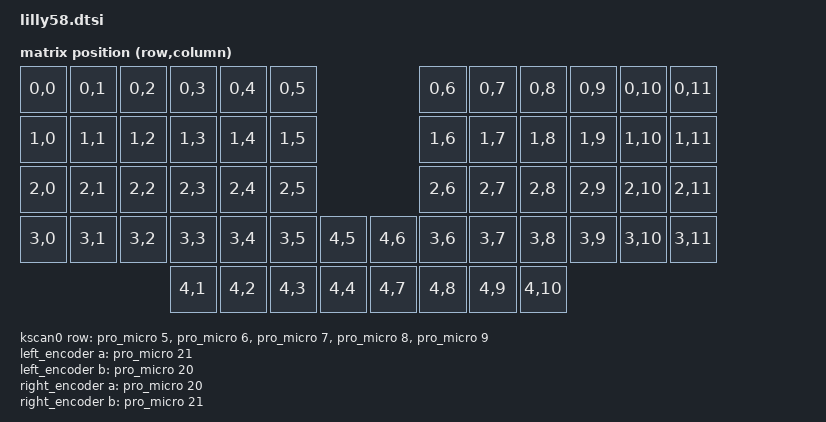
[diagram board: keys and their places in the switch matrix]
#include <dt-bindings/zmk/matrix_transform.h>
#include "lilly58-layouts.dtsi"
#include <dt-bindings/led/led.h>

/ {
    chosen {
        zmk,kscan = &kscan0;
        zmk,physical-layout = &layout_0;
        zephyr,display = &nice_view;
        zmk,underglow = &led_strip;
    };

    matrix_transform0: matrix_transform0 {
        compatible = "zmk,matrix-transform";
        columns = <16>;
        rows = <5>;
        map = <
RC(0,0) RC(0,1) RC(0,2) RC(0,3) RC(0,4) RC(0,5)                 RC(0,6) RC(0,7) RC(0,8) RC(0,9) RC(0,10) RC(0,11)
RC(1,0) RC(1,1) RC(1,2) RC(1,3) RC(1,4) RC(1,5)                 RC(1,6) RC(1,7) RC(1,8) RC(1,9) RC(1,10) RC(1,11)
RC(2,0) RC(2,1) RC(2,2) RC(2,3) RC(2,4) RC(2,5)                 RC(2,6) RC(2,7) RC(2,8) RC(2,9) RC(2,10) RC(2,11)
RC(3,0) RC(3,1) RC(3,2) RC(3,3) RC(3,4) RC(3,5) RC(4,5) RC(4,6) RC(3,6) RC(3,7) RC(3,8) RC(3,9) RC(3,10) RC(3,11)
                        RC(4,1) RC(4,2) RC(4,3) RC(4,4) RC(4,7) RC(4,8) RC(4,9) RC(4,10)
        >;
    };

    kscan0: kscan {
        compatible = "zmk,kscan-gpio-matrix";
        wakeup-source;
        diode-direction = "col2row";
        row-gpios
            = <&pro_micro 5 (GPIO_ACTIVE_HIGH | GPIO_PULL_DOWN)>
            , <&pro_micro 6 (GPIO_ACTIVE_HIGH | GPIO_PULL_DOWN)>
            , <&pro_micro 7 (GPIO_ACTIVE_HIGH | GPIO_PULL_DOWN)>
            , <&pro_micro 8 (GPIO_ACTIVE_HIGH | GPIO_PULL_DOWN)>
            , <&pro_micro 9 (GPIO_ACTIVE_HIGH | GPIO_PULL_DOWN)>
            ;
    };

    left_encoder: encoder_left {
        compatible = "alps,ec11";
        a-gpios = <&pro_micro 21 (GPIO_ACTIVE_HIGH | GPIO_PULL_UP)>;
        b-gpios = <&pro_micro 20 (GPIO_ACTIVE_HIGH | GPIO_PULL_UP)>;
        steps = <80>;
        status = "disabled";
    };

    right_encoder: encoder_right {
        compatible = "alps,ec11";
        a-gpios = <&pro_micro 20 (GPIO_ACTIVE_HIGH | GPIO_PULL_UP)>;
        b-gpios = <&pro_micro 21 (GPIO_ACTIVE_HIGH | GPIO_PULL_UP)>;
        steps = <80>;
        status = "disabled";
    };

    sensors: sensors {
        compatible = "zmk,keymap-sensors";
        sensors = <&left_encoder &right_encoder>;
        triggers-per-rotation = <20>;
    };
};

// nice!view SPI
&pinctrl {
    spi0_default: spi0_default {
        group1 {
            psels = <NRF_PSEL(SPIM_SCK, 0, 17)>,
                    <NRF_PSEL(SPIM_MOSI, 0, 20)>,
                    <NRF_PSEL(SPIM_MISO, 0, 22)>;
        };
    };
    spi0_sleep: spi0_sleep {
        group1 {
            psels = <NRF_PSEL(SPIM_SCK, 0, 17)>,
                    <NRF_PSEL(SPIM_MOSI, 0, 20)>,
                    <NRF_PSEL(SPIM_MISO, 0, 22)>;
            low-power-enable;
        };
    };
};

&spi0 {
    compatible = "nordic,nrf-spim";
    status = "okay";
    pinctrl-0 = <&spi0_default>;
    pinctrl-1 = <&spi0_sleep>;
    pinctrl-names = "default", "sleep";
    cs-gpios = <&pro_micro 1 GPIO_ACTIVE_LOW>;

    nice_view: ls0xx@0 {
        compatible = "sharp,ls0xx";
        label = "DISPLAY";
        spi-max-frequency = <1000000>;
        reg = <0>;
        width = <160>;
        height = <68>;
    };
};

// RGB SPI
&pinctrl {
    spi3_default: spi3_default {
        group1 {
            psels = <NRF_PSEL(SPIM_MOSI, 0, 6)>;
        };
    };
    spi3_sleep: spi3_sleep {
        group1 {
            psels = <NRF_PSEL(SPIM_MOSI, 0, 6)>;
            low-power-enable;
        };
    };
};

&spi3 {
    compatible = "nordic,nrf-spim";
    status = "okay";
    pinctrl-0 = <&spi3_default>;
    pinctrl-1 = <&spi3_sleep>;
    pinctrl-names = "default", "sleep";

    led_strip: ws2812@0 {
        compatible = "worldsemi,ws2812-spi";
        label = "WS2812";
        reg = <0>;
        spi-max-frequency = <4000000>;
        chain-length = <29>;
        spi-one-frame = <0x70>;
        spi-zero-frame = <0x40>;
        color-mapping = <LED_COLOR_ID_GREEN LED_COLOR_ID_RED LED_COLOR_ID_BLUE>;
    };
};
